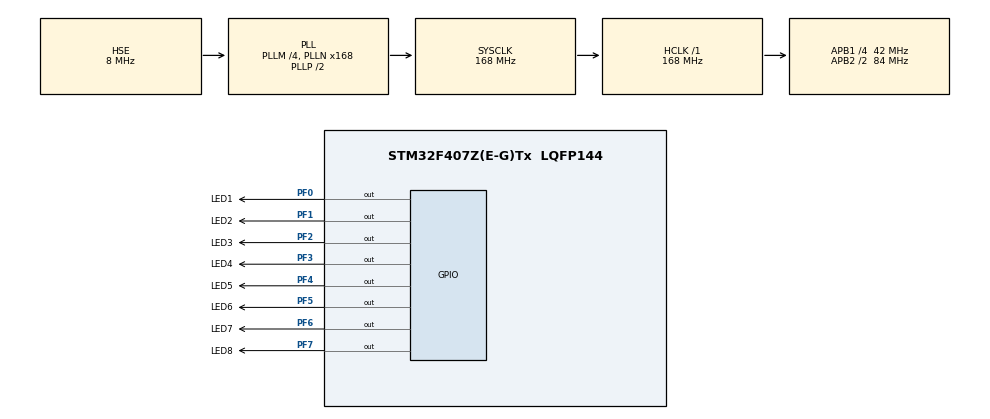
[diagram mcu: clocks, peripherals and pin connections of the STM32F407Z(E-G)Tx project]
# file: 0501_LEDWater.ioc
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Mcu.Family=STM32F4
Mcu.Name=STM32F407Z(E-G)Tx
Mcu.Package=LQFP144
NVIC.PriorityGroup=NVIC_PRIORITYGROUP_4
PA13.Mode=Serial_Wire
PA13.Signal=SYS_JTMS-SWDIO
PA14.Mode=Serial_Wire
PA14.Signal=SYS_JTCK-SWCLK
PC14-OSC32_IN.Mode=LSE-External-Oscillator
PC14-OSC32_IN.Signal=RCC_OSC32_IN
PC15-OSC32_OUT.Mode=LSE-External-Oscillator
PC15-OSC32_OUT.Signal=RCC_OSC32_OUT
PF0.GPIO_Label=LED1
PF0.GPIO_ModeDefaultOutputPP=GPIO_MODE_OUTPUT_PP
PF0.GPIO_PuPd=GPIO_NOPULL
PF0.GPIO_Speed=GPIO_SPEED_FREQ_LOW
PF0.PinState=GPIO_PIN_SET
PF0.Signal=GPIO_Output
PF1.GPIO_Label=LED2
PF1.GPIO_ModeDefaultOutputPP=GPIO_MODE_OUTPUT_PP
PF1.GPIO_PuPd=GPIO_NOPULL
PF1.GPIO_Speed=GPIO_SPEED_FREQ_LOW
PF1.PinState=GPIO_PIN_SET
PF1.Signal=GPIO_Output
PF2.GPIO_Label=LED3
PF2.GPIO_ModeDefaultOutputPP=GPIO_MODE_OUTPUT_PP
PF2.GPIO_PuPd=GPIO_NOPULL
PF2.GPIO_Speed=GPIO_SPEED_FREQ_LOW
PF2.PinState=GPIO_PIN_SET
PF2.Signal=GPIO_Output
PF3.GPIO_Label=LED4
PF3.GPIO_ModeDefaultOutputPP=GPIO_MODE_OUTPUT_PP
PF3.GPIO_PuPd=GPIO_NOPULL
PF3.GPIO_Speed=GPIO_SPEED_FREQ_LOW
PF3.PinState=GPIO_PIN_SET
PF3.Signal=GPIO_Output
PF4.GPIO_Label=LED5
PF4.GPIO_ModeDefaultOutputPP=GPIO_MODE_OUTPUT_PP
PF4.GPIO_PuPd=GPIO_NOPULL
PF4.GPIO_Speed=GPIO_SPEED_FREQ_LOW
PF4.PinState=GPIO_PIN_SET
PF4.Signal=GPIO_Output
PF5.GPIO_Label=LED6
PF5.GPIO_ModeDefaultOutputPP=GPIO_MODE_OUTPUT_PP
PF5.GPIO_PuPd=GPIO_NOPULL
PF5.GPIO_Speed=GPIO_SPEED_FREQ_LOW
PF5.PinState=GPIO_PIN_SET
PF5.Signal=GPIO_Output
PF6.GPIO_Label=LED7
PF6.GPIO_ModeDefaultOutputPP=GPIO_MODE_OUTPUT_PP
PF6.GPIO_PuPd=GPIO_NOPULL
PF6.GPIO_Speed=GPIO_SPEED_FREQ_LOW
PF6.PinState=GPIO_PIN_SET
PF6.Signal=GPIO_Output
PF7.GPIO_Label=LED8
PF7.GPIO_ModeDefaultOutputPP=GPIO_MODE_OUTPUT_PP
PF7.GPIO_PuPd=GPIO_NOPULL
PF7.GPIO_Speed=GPIO_SPEED_FREQ_LOW
PF7.PinState=GPIO_PIN_SET
PF7.Signal=GPIO_Output
PH0-OSC_IN.Mode=HSE-External-Oscillator
PH0-OSC_IN.Signal=RCC_OSC_IN
PH1-OSC_OUT.Mode=HSE-External-Oscillator
PH1-OSC_OUT.Signal=RCC_OSC_OUT
ProjectManager.HeapSize=0x200
ProjectManager.StackSize=0x400
ProjectManager.TargetToolchain=MDK-ARM V5.32
RCC.48MHZClocksFreq_Value=84000000
RCC.AHBFreq_Value=168000000
RCC.APB1CLKDivider=RCC_HCLK_DIV4
RCC.APB1Freq_Value=42000000
RCC.APB1TimFreq_Value=84000000
RCC.APB2CLKDivider=RCC_HCLK_DIV2
RCC.APB2Freq_Value=84000000
RCC.APB2TimFreq_Value=168000000
RCC.CortexFreq_Value=168000000
RCC.HCLKFreq_Value=168000000
RCC.HSE_VALUE=8000000
RCC.HSI_VALUE=16000000
RCC.PLLM=4
RCC.PLLN=168
RCC.PLLSourceVirtual=RCC_PLLSOURCE_HSE
RCC.SYSCLKFreq_VALUE=168000000
RCC.SYSCLKSource=RCC_SYSCLKSOURCE_PLLCLK
RCC.VCOOutputFreq_Value=336000000
board=custom

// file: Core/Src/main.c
/* USER CODE BEGIN Header */
/**
  ******************************************************************************
  * @file           : main.c
  * @brief          : Main program body
  ******************************************************************************
  * @attention
  *
  * Copyright (c) 2026 STMicroelectronics.
  * All rights reserved.
  *
  * This software is licensed under terms that can be found in the LICENSE file
  * in the root directory of this software component.
  * If no LICENSE file comes with this software, it is provided AS-IS.
  *
  ******************************************************************************
  */
/* USER CODE END Header */
#include "main.h"
#include "gpio.h"

void SystemClock_Config(void);

int main(void)
{

  /* MCU Configuration--------------------------------------------------------*/

  /* Reset of all peripherals, Initializes the Flash interface and the Systick. */
  HAL_Init();

  /* Configure the system clock */
  SystemClock_Config();

  /* Initialize all configured peripherals */
  MX_GPIO_Init();

  /* Infinite loop */
  while (1)
  {
    /* USER CODE BEGIN 3 */

    GPIOF->ODR = 0xFE;
    HAL_Delay(500);

    GPIOF->ODR = 0xFD;
    HAL_Delay(500);

    GPIOF->ODR = 0xFB;
    HAL_Delay(500);

    GPIOF->ODR = 0xF7;
    HAL_Delay(500);

    GPIOF->ODR = 0xEF;
    HAL_Delay(500);

    GPIOF->ODR = 0xDF;
    HAL_Delay(500);

    GPIOF->ODR = 0xBF;
    HAL_Delay(500);

    GPIOF->ODR = 0x7F;
    HAL_Delay(500);

    /* USER CODE END 3 */

  }
}

void SystemClock_Config(void)
{
  RCC_OscInitTypeDef RCC_OscInitStruct = {0};
  RCC_ClkInitTypeDef RCC_ClkInitStruct = {0};

  /** Configure the main internal regulator output voltage
  */
  __HAL_RCC_PWR_CLK_ENABLE();
  __HAL_PWR_VOLTAGESCALING_CONFIG(PWR_REGULATOR_VOLTAGE_SCALE1);

  /** Initializes the RCC Oscillators according to the specified parameters
  * in the RCC_OscInitTypeDef structure.
  */
  RCC_OscInitStruct.OscillatorType = RCC_OSCILLATORTYPE_HSE;
  RCC_OscInitStruct.HSEState = RCC_HSE_ON;
  RCC_OscInitStruct.PLL.PLLState = RCC_PLL_ON;
  RCC_OscInitStruct.PLL.PLLSource = RCC_PLLSOURCE_HSE;
  RCC_OscInitStruct.PLL.PLLM = 4;
  RCC_OscInitStruct.PLL.PLLN = 168;
  RCC_OscInitStruct.PLL.PLLP = RCC_PLLP_DIV2;
  RCC_OscInitStruct.PLL.PLLQ = 4;
  if (HAL_RCC_OscConfig(&RCC_OscInitStruct) != HAL_OK)
  {
    Error_Handler();
  }

  /** Initializes the CPU, AHB and APB buses clocks
  */
  RCC_ClkInitStruct.ClockType = RCC_CLOCKTYPE_HCLK|RCC_CLOCKTYPE_SYSCLK
                              |RCC_CLOCKTYPE_PCLK1|RCC_CLOCKTYPE_PCLK2;
  RCC_ClkInitStruct.SYSCLKSource = RCC_SYSCLKSOURCE_PLLCLK;
  RCC_ClkInitStruct.AHBCLKDivider = RCC_SYSCLK_DIV1;
  RCC_ClkInitStruct.APB1CLKDivider = RCC_HCLK_DIV4;
  RCC_ClkInitStruct.APB2CLKDivider = RCC_HCLK_DIV2;

  if (HAL_RCC_ClockConfig(&RCC_ClkInitStruct, FLASH_LATENCY_5) != HAL_OK)
  {
    Error_Handler();
  }
}

void Error_Handler(void)
{
  __disable_irq();
  while (1)
  {
  }
}
